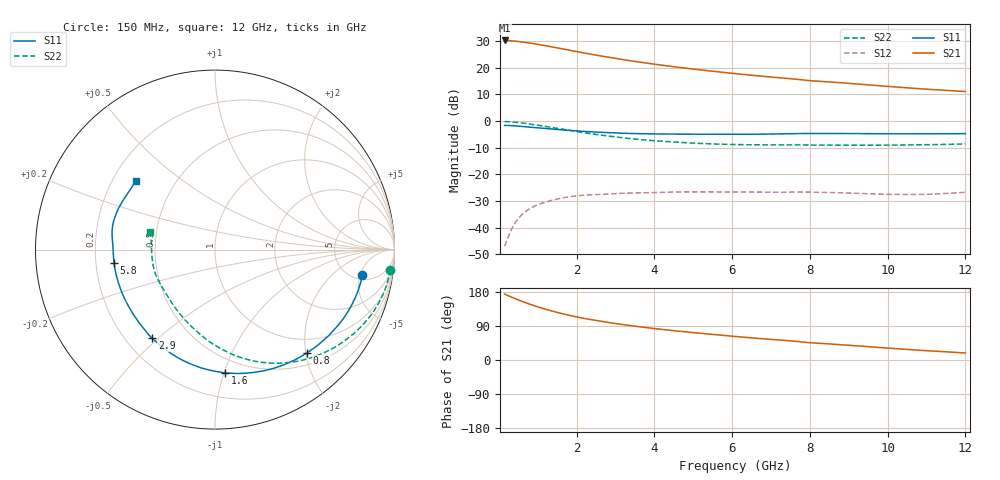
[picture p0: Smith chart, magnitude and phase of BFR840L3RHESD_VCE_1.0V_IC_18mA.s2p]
! Infineon Technologies  Discrete & RF Semiconductors
! BFR840L3RHESD
! VCE =  1.0 V,  IC =  18 mA
! Common Emitter S-Parameters:  Jun 2012
# GHz  S  MA  R  50
!  f  S11  S21  S12  S22
! GHz  MAG  ANG  MAG  ANG  MAG  ANG  MAG  ANG
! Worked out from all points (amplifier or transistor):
!   91 points, 150 MHz to 12 GHz, reference 50 ohm
!   highest |S21| = 30.3 dB at 150 MHz (marker M1)
!   |S21| within 3 dB of that: start of sweep to 1.579 GHz
!   unconditionally stable (mu >= 1): 7.327 GHz to end of sweep
!   at 1.3 GHz: K = 0.18, MSG = 29.0 dB, |S12| = -30.0 dB
!   at 4.3 GHz: K = 0.57, MSG = 23.7 dB, |S12| = -26.7 dB
!   at 12 GHz: K = 1.85, MAG = 13.6 dB, |S12| = -26.7 dB
!   S11 on the Smith chart (normalised r, x): 150 MHz: 5.81, -5.43; 800 MHz: 0.71, -2.03; 1.6 GHz: 0.39, -1.01; 2.9 GHz: 0.31, -0.48; 5.8 GHz: 0.28, -0.06; 12 GHz: 0.30, +0.34
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0.15  0.8328 -9.9  32.67 173.8  0.0045 82.1  0.9814 -6.5
0.3  0.8258 -19.3  32.28 167.2  0.0084 75.4  0.9716 -14.0
0.5  0.8057 -31.4  31.23 158.7  0.0148 69.3  0.9414 -23.1
0.6  0.7942 -37.2  30.59 154.7  0.0178 66.7  0.9224 -27.4
0.8  0.7712 -48.3  29.16 147.2  0.0229 62.0  0.8814 -35.5
1  0.749 -58.6  27.64 140.4  0.0269 57.4  0.8389 -43.0
1.2  0.7279 -68.1  26.06 134.1  0.0302 52.9  0.7963 -50.0
1.4  0.7077 -77.0  24.49 128.4  0.0331 48.8  0.7543 -56.4
1.6  0.6889 -85.3  22.98 123.1  0.0357 45.1  0.7137 -62.5
1.9  0.6636 -96.6  20.87 115.9  0.0388 40.3  0.657 -70.8
2.2  0.642 -106.5  18.99 109.7  0.0407 36.2  0.6068 -78.3
2.5  0.6236 -115.1  17.34 104.4  0.0418 33.1  0.5634 -84.9
2.9  0.6053 -125.2  15.51 97.8  0.0433 30.2  0.5171 -92.8
3.5  0.5841 -138.3  13.22 89.3  0.0448 26.1  0.4613 -103.8
4.2  0.5736 -150.5  11.22 80.7  0.0461 23.7  0.4194 -114.9
4.9  0.5691 -161.0  9.682 73.3  0.047 21.7  0.3905 -125.2
5.8  0.5671 -172.3  8.192 64.7  0.0469 19.6  0.3678 -137.4
6.1  0.5669 -175.6  7.777 61.9  0.0469 19.0  0.3636 -141.2
8  0.5865 164.7  5.742 45.6  0.0465 17.6  0.3559 -165.2
8.5  0.5863 160.9  5.441 42.5  0.0458 17.4  0.3542 -169.5
10.5  0.5786 146.6  4.219 27.9  0.0419 23.0  0.357 173.7
12  0.5831 139.4  3.597 18.5  0.0462 31.1  0.3735 165.2
